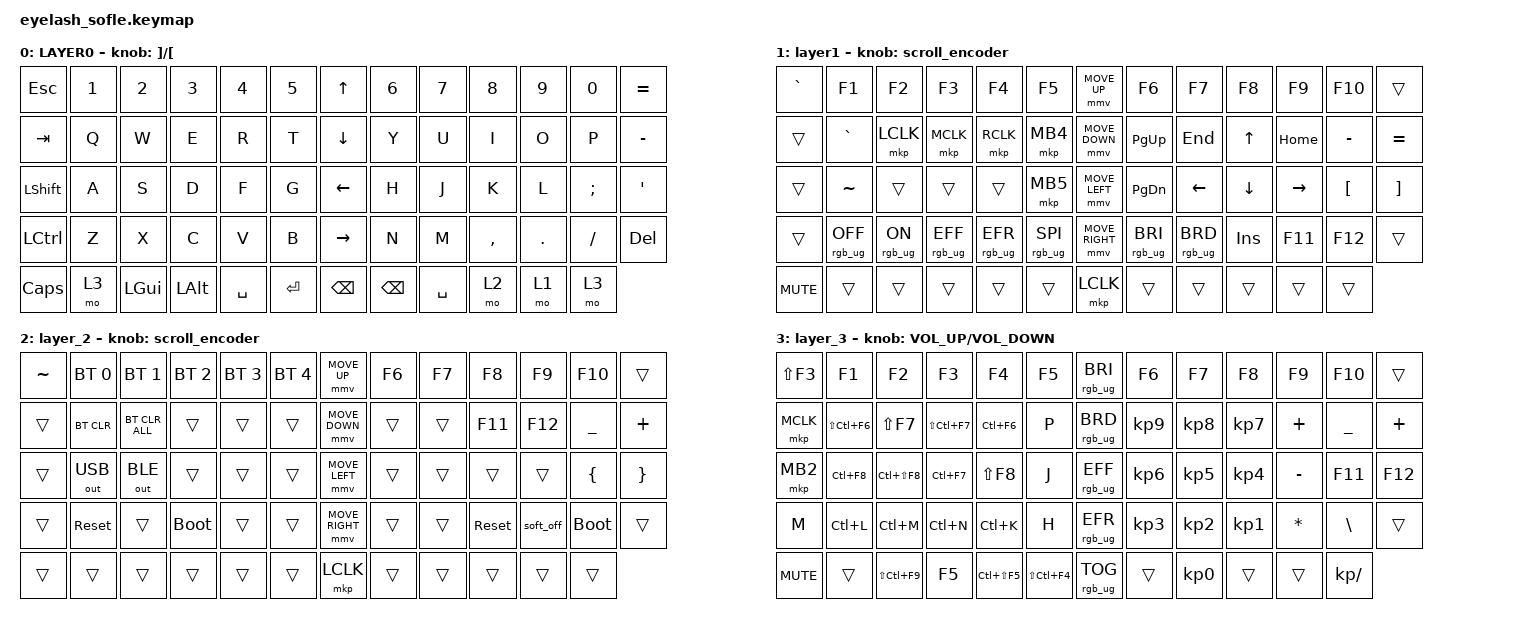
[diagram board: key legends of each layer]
#define ZMK_POINTING_DEFAULT_MOVE_VAL 1200  // 600
#define ZMK_POINTING_DEFAULT_SCRL_VAL 25   // 10

#include <input/processors.dtsi>
#include <zephyr/dt-bindings/input/input-event-codes.h>
#include <behaviors.dtsi>
#include <dt-bindings/zmk/bt.h>
#include <dt-bindings/zmk/keys.h>
#include <dt-bindings/zmk/outputs.h>
#include <dt-bindings/zmk/pointing.h>
#include <dt-bindings/zmk/rgb.h>

&mmv_input_listener { input-processors = <&zip_xy_scaler 2 1>; };

&msc_input_listener { input-processors = <&zip_scroll_scaler 2 1>; };

&msc {
    acceleration-exponent = <1>;      // 0
    time-to-max-speed-ms = <100>;       // 300
    delay-ms = <0>;                   // 0
};

&mmv {
    time-to-max-speed-ms = <500>;
    acceleration-exponent = <1>;
    trigger-period-ms = <16>;
};

/ {
    scroll_encoder: scroll_encoder {
        compatible = "zmk,behavior-sensor-rotate";
        #sensor-binding-cells = <0>;
        bindings = <&msc SCRL_DOWN>, <&msc SCRL_UP>;

        tap-ms = <100>;
    };

    behaviors {
    };

    keymap {
        compatible = "zmk,keymap";

        layer0 {
            bindings = <
&kp ESC         &kp N1  &kp N2        &kp N3        &kp N4     &kp N5       &kp UP_ARROW     &kp N6         &kp N7     &kp N8     &kp N9   &kp N0    &kp EQUAL
&kp TAB         &kp Q   &kp W         &kp E         &kp R      &kp T        &kp DOWN_ARROW   &kp Y          &kp U      &kp I      &kp O    &kp P     &kp MINUS
&kp LEFT_SHIFT  &kp A   &kp S         &kp D         &kp F      &kp G        &kp LEFT_ARROW   &kp H          &kp J      &kp K      &kp L    &kp SEMI  &kp APOS
&kp LCTRL       &kp Z   &kp X         &kp C         &kp V      &kp B        &kp RIGHT_ARROW  &kp N          &kp M      &kp COMMA  &kp DOT  &kp FSLH  &kp DELETE
&kp CAPSLOCK    &mo 3   &kp LEFT_GUI  &kp LEFT_ALT  &kp SPACE  &kp ENTER    &kp BACKSPACE    &kp BACKSPACE  &kp SPACE  &mo 2      &mo 1    &mo 3
            >;

            sensor-bindings = <&inc_dec_kp RBKT LBKT>;
            display-name = "LAYER0";
        };

        layer_1 {
            bindings = <
&kp GRAVE   &kp F1           &kp F2          &kp F3           &kp F4           &kp F5             &mmv MOVE_UP     &kp F6           &kp F7           &kp F8      &kp F9     &kp F10           &trans
&trans      &kp GRAVE        &mkp LCLK       &mkp MCLK        &mkp RCLK        &mkp MB4           &mmv MOVE_DOWN   &kp PG_UP        &kp END          &kp UP      &kp HOME   &kp MINUS         &kp EQUAL
&trans      &kp TILDE        &trans          &trans           &trans           &mkp MB5           &mmv MOVE_LEFT   &kp PG_DN        &kp LEFT         &kp DOWN    &kp RIGHT  &kp LEFT_BRACKET  &kp RIGHT_BRACKET
&trans      &rgb_ug RGB_OFF  &rgb_ug RGB_ON  &rgb_ug RGB_EFF  &rgb_ug RGB_EFR  &rgb_ug RGB_SPI    &mmv MOVE_RIGHT  &rgb_ug RGB_BRI  &rgb_ug RGB_BRD  &kp INSERT  &kp F11    &kp F12           &trans
&kp C_MUTE  &trans           &trans          &trans           &trans           &trans             &mkp LCLK        &trans           &trans           &trans      &trans     &trans
            >;

            display-name = "layer1";
            sensor-bindings = <&scroll_encoder>;
        };

        layer_2 {
            bindings = <
&kp TILDE  &bt BT_SEL 0  &bt BT_SEL 1    &bt BT_SEL 2  &bt BT_SEL 3  &bt BT_SEL 4    &mmv MOVE_UP     &kp F6  &kp F7  &kp F8      &kp F9     &kp F10      &trans
&trans     &bt BT_CLR    &bt BT_CLR_ALL  &trans        &trans        &trans          &mmv MOVE_DOWN   &trans  &trans  &kp F11     &kp F12    &kp UNDER    &kp PLUS
&trans     &out OUT_USB  &out OUT_BLE    &trans        &trans        &trans          &mmv MOVE_LEFT   &trans  &trans  &trans      &trans     &kp LBRC     &kp RBRC
&trans     &sys_reset    &trans          &bootloader   &trans        &trans          &mmv MOVE_RIGHT  &trans  &trans  &sys_reset  &soft_off  &bootloader  &trans
&trans     &trans        &trans          &trans        &trans        &trans          &mkp LCLK        &trans  &trans  &trans      &trans     &trans
            >;

            sensor-bindings = <&scroll_encoder>;
        };

        layer_3 {
            bindings = <
&kp LS(F3)  &kp F1          &kp F2          &kp F3          &kp F4          &kp F5            &rgb_ug RGB_BRI  &kp F6           &kp F7           &kp F8           &kp F9     &kp F10         &trans
&mkp MCLK   &kp LS(LC(F6))  &kp LS(F7)      &kp LS(LC(F7))  &kp LC(F6)      &kp P             &rgb_ug RGB_BRD  &kp KP_NUMBER_9  &kp KP_NUMBER_8  &kp KP_NUMBER_7  &kp PLUS   &kp UNDERSCORE  &kp PLUS
&mkp MB2    &kp LC(F8)      &kp LC(LS(F8))  &kp LC(F7)      &kp LS(F8)      &kp J             &rgb_ug RGB_EFF  &kp KP_NUMBER_6  &kp KP_NUMBER_5  &kp KP_NUMBER_4  &kp MINUS  &kp F11         &kp F12
&kp M       &kp LC(L)       &kp LC(M)       &kp LC(N)       &kp LC(K)       &kp H             &rgb_ug RGB_EFR  &kp KP_NUMBER_3  &kp KP_NUMBER_2  &kp KP_NUMBER_1  &kp ASTRK  &kp BACKSLASH   &trans
&kp C_MUTE  &trans          &kp LS(LC(F9))  &kp F5          &kp LC(LS(F5))  &kp LS(LC(F4))    &rgb_ug RGB_TOG  &trans           &kp KP_NUMBER_0  &trans           &trans     &kp KP_DIVIDE
            >;

            sensor-bindings = <&inc_dec_kp C_VOLUME_UP C_VOLUME_DOWN>;
        };
    };
};
